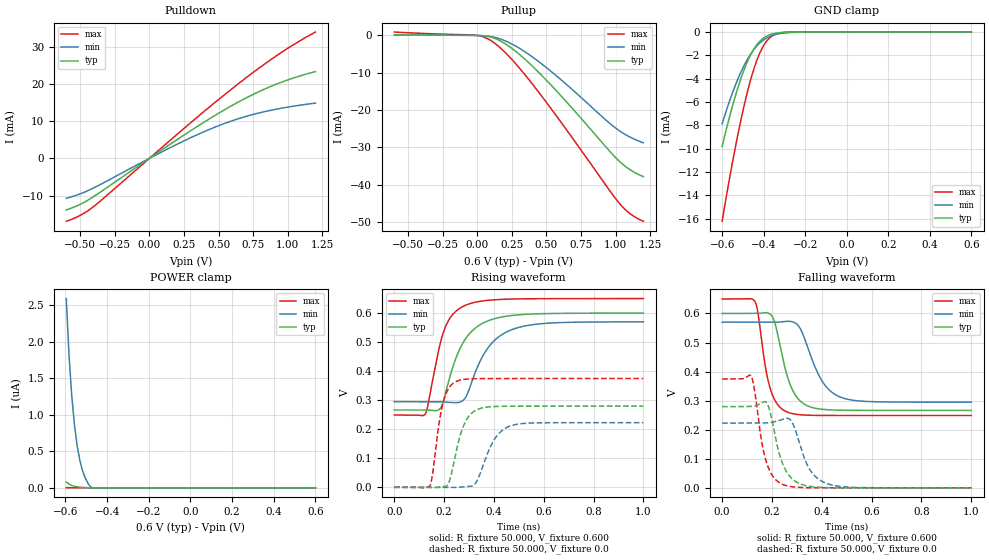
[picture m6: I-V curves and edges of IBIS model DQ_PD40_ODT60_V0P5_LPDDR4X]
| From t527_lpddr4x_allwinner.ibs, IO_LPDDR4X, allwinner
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|   Model DQ_PD40_ODT60_V0P5_LPDDR4X
[Model] DQ_PD40_ODT60_V0P5_LPDDR4X
Model_type I/O
Polarity   Non-Inverting
Enable   Active-Low
Vinl =  0.300V
Vinh =  0.300V
C_comp   1.524pF   1.482pF   1.579pF
C_comp_pulldown   0.768pF   0.740pF   0.803pF
[Model Spec]
Vinh   0.300V   0.285V   0.325V
Vinl   0.300V   0.285V   0.325V
[Temperature Range]   25.000   0.125k   -40.000
[Voltage Range]   0.600V   0.570V   0.650V
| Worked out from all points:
|   slope of the pulldown table from 0 to 0.09 V, typ, clamps not added: 39.4 ohm
|   slope of the pullup table from 0 to 0.09 V, typ, clamps not added: 243 ohm
|   GND clamp passes 1 mA (typ) near -0.43 V on its own axis
|   rising waveform, R_fixture 50.000, V_fixture 0.600: 20-80 % time 97.7ps typ, 108ps min, 69.6ps max; typ from 0.266 V to 0.6 V
|   rising waveform, R_fixture 50.000, V_fixture 0.0: 20-80 % time 52.3ps typ, 69.2ps min, 40.3ps max; typ from 0 V to 0.279 V
|   falling waveform, R_fixture 50.000, V_fixture 0.600: 20-80 % time 62.8ps typ, 85.3ps min, 48.6ps max; typ from 0.6 V to 0.266 V
|   falling waveform, R_fixture 50.000, V_fixture 0.0: 20-80 % time 55.7ps typ, 66.1ps min, 46.7ps max; typ from 0.279 V to 0 V
[Pulldown]
|Voltage   I(typ)   I(min)   I(max)
-600mV    -13.86mA   -10.75mA   -16.94mA
-486mV    -12.12mA   -9.358mA   -15.08mA
-391mV    -10.01mA   -7.747mA   -12.64mA
179mV     4.516mA    3.415mA    5.784mA
369mV     9.132mA    6.759mA    11.81mA
521mV     12.6mA     9.094mA    16.49mA
692mV     16.14mA    11.23mA    21.52mA
863mV     19.16mA    12.84mA    26.21mA
1.034V    21.56mA    14.02mA    30.45mA
1.2V      23.38mA    14.89mA    34.02mA
[Pullup]
|Voltage   I(typ)   I(min)   I(max)
-600mV    174.4uA    136.4uA    916.9uA
3mV       -3.215uA   -2.941uA   -15.88uA
60mV      -157.5uA   -115.3uA   -612.9uA
136mV     -925uA     -593.9uA   -2.369mA
193mV     -2.018mA   -1.302mA   -4.247mA
269mV     -4mA       -2.668mA   -7.229mA
440mV     -9.758mA   -6.91mA    -15.04mA
630mV     -17.22mA   -12.68mA   -24.56mA
934mV     -30.11mA   -22.85mA   -40.43mA
1.029V    -33.85mA   -25.62mA   -45.15mA
1.105V    -36.05mA   -27.3mA    -47.85mA
1.2V      -37.88mA   -28.78mA   -49.86mA
[GND_clamp]
|Voltage   I(typ)   I(min)   I(max)
-600mV    -9.815mA   -7.875mA   -16.22mA
-561mV    -7.046mA   -5.746mA   -12.23mA
-535mV    -5.403mA   -4.507mA   -9.766mA
-496mV    -3.316mA   -2.935mA   -6.457mA
-470mV    -2.216mA   -2.096mA   -4.569mA
-444mV    -1.371mA   -1.428mA   -2.993mA
-418mV    -778.9uA   -926.6uA   -1.774mA
-392mV    -406.1uA   -573.1uA   -928uA
-366mV    -197uA     -340uA     -421.7uA
-327mV    -60.99uA   -147uA     -102.9uA
-275mV    -11.95uA   -46.19uA   -12.78uA
600mV     -16.32nA   -580.9nA   -530.8pA
[POWER_clamp]
|Voltage   I(typ)   I(min)   I(max)
-596mV    80.11nA    2.59uA     2.718nA
-583mV    51.54nA    1.823uA    1.849nA
-570mV    33.02nA    1.267uA    1.347nA
-557mV    21.05nA    865.5nA    1.054nA
-544mV    13.37nA    578.4nA    882.1pA
-531mV    8.471nA    375.5nA    779.4pA
-518mV    5.383nA    233.4nA    714.2pA
-505mV    3.418nA    134nA      667.8pA
-492mV    2.102nA    63.17nA    630.5pA
-479mV    1.14nA     10.45nA    598.7pA
-466mV    372.9pA    0A         570.6pA
600mV     0A         0A         0A
[Ramp]
| variable   typ   min   max
dV/dt_r   0.168/52.395p   0.134/69.278p   0.225/40.427p
dV/dt_f   0.200/62.870p   0.165/85.390p   0.241/48.706p
R_load = 50.000
[Rising Waveform]
R_fixture= 50.000
V_fixture= 0.600
V_fixture_min= 0.570
V_fixture_max= 0.650
|time   V(typ)   V(min)   V(max)
0s        266.5mV    295mV      249mV
126ps     266.4mV    295mV      254.4mV
178ps     266.8mV    294.8mV    471.1mV
200ps     304mV      294mV      540.3mV
240ps     426.7mV    291.6mV    600.1mV
280ps     503.4mV    302.2mV    624.7mV
368ps     570.4mV    470.1mV    643.4mV
464ps     591.1mV    540.3mV    648.4mV
617ps     598.5mV    565.3mV    649.9mV
1ns       599.9mV    569.9mV    650mV
[Rising Waveform]
R_fixture= 50.000
V_fixture= 0.0
V_fixture_min= 0.0
V_fixture_max= 0.0
|time   V(typ)   V(min)   V(max)
0s        1.962uV    49.79uV    134.6nV
143ps     -286.2uV   137.1uV    4.678mV
196ps     2.948mV    199.5uV    290.8mV
221ps     19.98mV    -320.7uV   343.9mV
251ps     131.4mV    -394.8uV   365.5mV
280ps     215.2mV    2mV        371.8mV
315ps     258.5mV    5.187mV    374mV
402ps     278.2mV    164.9mV    374.7mV
466ps     279.3mV    211.4mV    374.7mV
1ns       279.4mV    222.7mV    374.7mV
[Falling Waveform]
R_fixture= 50.000
V_fixture= 0.600
V_fixture_min= 0.570
V_fixture_max= 0.650
|time   V(typ)   V(min)   V(max)
0s        600mV      570mV      650mV
132ps     600.4mV    569.9mV    640.7mV
191ps     598.9mV    570.2mV    347.8mV
213ps     564.1mV    570.3mV    299.4mV
258ps     394.3mV    573.1mV    262.1mV
287ps     329.2mV    570.1mV    254.5mV
325ps     290.8mV    527.1mV    250.7mV
396ps     270.9mV    374.9mV    249.2mV
469ps     267.2mV    314.4mV    249mV
1ns       266.5mV    295mV      249mV
[Falling Waveform]
R_fixture= 50.000
V_fixture= 0.0
V_fixture_min= 0.0
V_fixture_max= 0.0
|time   V(typ)   V(min)   V(max)
0s        279.4mV    222.7mV    374.7mV
117ps     280.3mV    222.7mV    384.1mV
175ps     296mV      223.5mV    96.31mV
191ps     266.4mV    224mV      58.67mV
242ps     84.77mV    235.3mV    12.21mV
274ps     37.33mV    233.7mV    4.595mV
302ps     18.17mV    177.9mV    1.961mV
352ps     5.048mV    62.63mV    424.9uV
421ps     869.1uV    14.6mV     51.37uV
1ns       1.966uV    49.92uV    136.3nV
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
